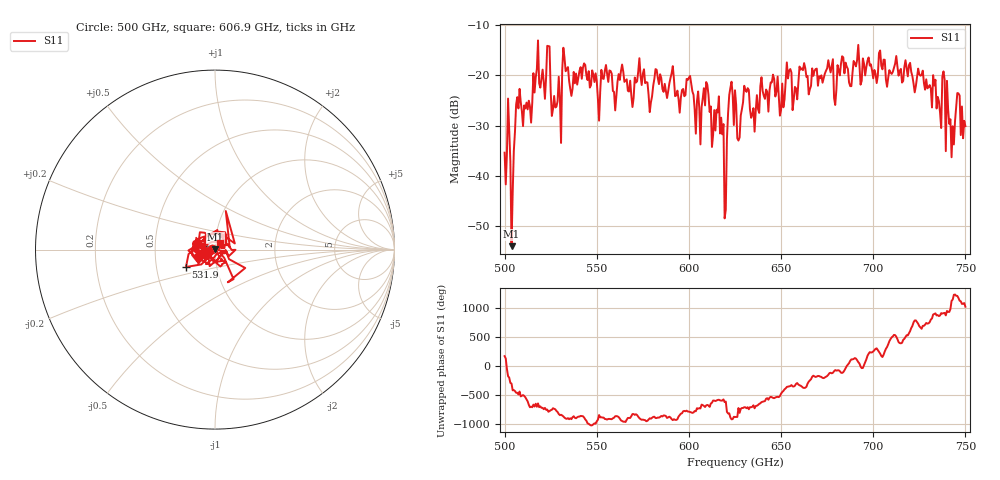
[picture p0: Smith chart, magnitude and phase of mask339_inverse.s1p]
!Created with skrf (http://scikit-rf.org).
# GHz S MA R 50.0
!freq magS11 angS11
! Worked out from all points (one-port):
!   401 points, 500 GHz to 750 GHz, reference 50 ohm
!   lowest |S11| = -54.0 dB at 503.8 GHz (marker M1), VSWR 1.00, Z = 50.1 + j0.167 ohm
!   |S11| at or under -10 dB: start of sweep to end of sweep
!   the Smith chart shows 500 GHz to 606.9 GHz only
!   S11 on the Smith chart (normalised r, x): 500 GHz: 0.97, +0.01; 531.9 GHz: 0.71, -0.14; 606.9 GHz: 1.06, +0.08
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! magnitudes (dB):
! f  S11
! 500 GHz  -35.4
! 501.9 GHz  -24.6
! 503.8 GHz  -54.0
! 507.5 GHz  -26.6
! 513.8 GHz  -26.2
! 516.9 GHz  -20.5
! 523.8 GHz  -14.2
! 526.9 GHz  -24.1
! 531.2 GHz  -19.0
! 531.9 GHz  -14.5
! 562.5 GHz  -20.9
! 579.4 GHz  -25.4
! 590.6 GHz  -19.6
! 593.8 GHz  -23.0
! 600 GHz  -20.5
! 606.9 GHz  -26.3
! 616.2 GHz  -24.2
! 619.4 GHz  -48.5
! 622.5 GHz  -22.5
! 625 GHz  -23.0
! 656.2 GHz  -26.9
! 687.5 GHz  -22.1
! 718.8 GHz  -20.2
! 735.6 GHz  -25.1
! 738.8 GHz  -20.9
! 742.5 GHz  -36.3
! 745.6 GHz  -23.5
! 750 GHz  -30.1
